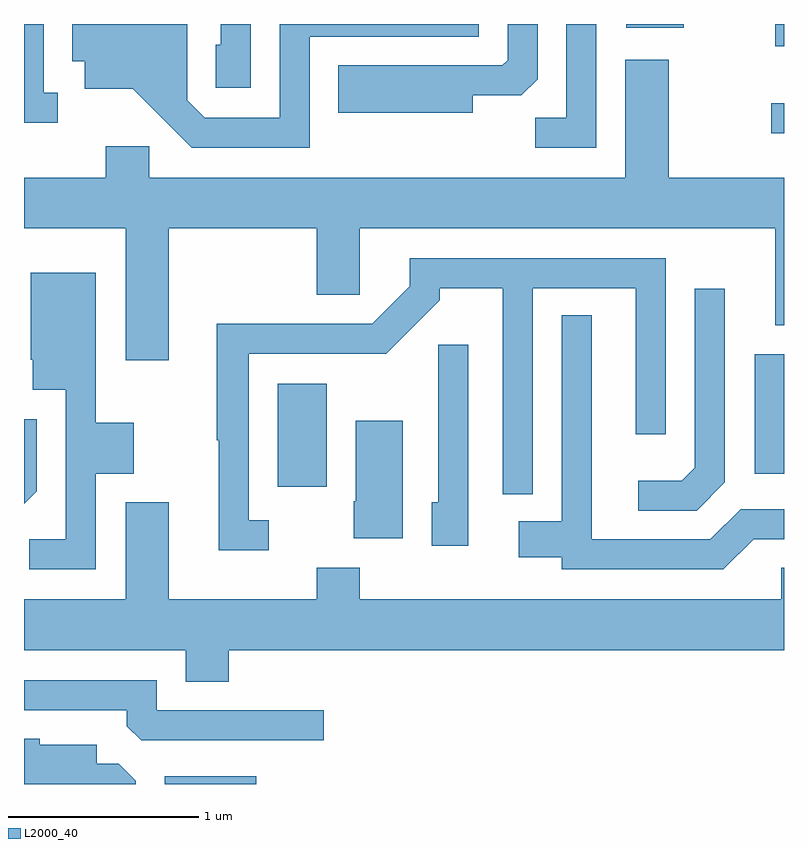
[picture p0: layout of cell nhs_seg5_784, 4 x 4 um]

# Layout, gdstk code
import gdstk
lib = gdstk.Library(unit=1e-6, precision=1e-09)
def R(c, l, rs):  # rectangles x0, y0, x1, y1
    for r in rs: c.add(gdstk.rectangle(r[:2], r[2:], *l))
def P(c, l, *ps):  # polygons
    for p in ps: c.add(gdstk.Polygon(p, *l))
L2000_40 = (2000, 40)

nhs_seg5_784 = lib.new_cell('nhs_seg5_784')
R(nhs_seg5_784, L2000_40, [(208.351,1476.072,208.834,1476.114), (208.946,1477.636,209.204,1478.179), (211.456,1477.706,211.611,1478.334), (211.543,1479.496,211.611,1479.654), (211.566,1479.956,211.611,1480.072), (210.781,1480.051,211.084,1480.072)])
P(nhs_seg5_784, L2000_40, [(208.804,1480.072),(208.646,1480.072),(208.646,1479.964),(208.621,1479.964),(208.621,1479.736),(208.804,1479.736)],
  [(209.114,1480.006),(210.004,1480.006),(210.004,1480.072),(208.956,1480.072),(208.956,1479.579),(208.562,1479.579),(208.469,1479.672),(208.469,1480.072),(207.866,1480.072),(207.866,1479.876),(207.931,1479.876),(207.931,1479.731),(208.184,1479.731),(208.494,1479.421),(209.114,1479.421)],
  [(210.624,1480.072),(210.466,1480.072),(210.466,1479.579),(210.303,1479.579),(210.303,1479.421),(210.624,1479.421)],
  [(209.974,1479.696),(210.229,1479.696),(210.314,1479.782),(210.314,1480.072),(210.156,1480.072),(210.156,1479.882),(210.129,1479.854),(209.266,1479.854),(209.266,1479.606),(209.974,1479.606)],
  [(207.788,1479.709),(207.714,1479.709),(207.714,1480.072),(207.611,1480.072),(207.611,1479.551),(207.788,1479.551)],
  [(208.374,1478.996),(209.151,1478.996),(209.151,1478.646),(209.379,1478.646),(209.379,1478.996),(211.566,1478.996),(211.566,1478.486),(211.611,1478.486),(211.611,1479.264),(211.004,1479.264),(211.004,1479.884),(210.776,1479.884),(210.776,1479.264),(208.269,1479.264),(208.269,1479.429),(208.041,1479.429),(208.041,1479.264),(207.611,1479.264),(207.611,1478.996),(208.146,1478.996),(208.146,1478.301),(208.374,1478.301)],
  [(208.898,1477.459),(208.794,1477.459),(208.794,1478.336),(209.517,1478.336),(209.799,1478.619),(209.799,1478.681),(210.131,1478.681),(210.131,1477.598),(210.289,1477.598),(210.289,1478.681),(210.831,1478.681),(210.831,1477.913),(210.989,1477.913),(210.989,1478.839),(209.641,1478.839),(209.641,1478.692),(209.444,1478.494),(208.626,1478.494),(208.626,1477.88),(208.636,1477.88),(208.636,1477.301),(208.898,1477.301)],
  [(207.989,1477.706),(208.189,1477.706),(208.189,1477.974),(207.989,1477.974),(207.989,1478.764),(207.646,1478.764),(207.646,1478.305),(207.656,1478.305),(207.656,1478.146),(207.831,1478.146),(207.831,1477.359),(207.638,1477.359),(207.638,1477.201),(207.989,1477.201)],
  [(211.299,1477.659),(211.299,1478.678),(211.141,1478.678),(211.141,1477.737),(211.074,1477.669),(210.843,1477.669),(210.843,1477.511),(211.152,1477.511)],
  [(211.452,1477.361),(211.611,1477.361),(211.611,1477.519),(211.384,1477.519),(211.224,1477.359),(210.599,1477.359),(210.599,1478.538),(210.441,1478.538),(210.441,1477.454),(210.216,1477.454),(210.216,1477.266),(210.441,1477.266),(210.441,1477.201),(211.292,1477.201)],
  [(209.949,1478.383),(209.791,1478.383),(209.791,1477.554),(209.756,1477.554),(209.756,1477.326),(209.949,1477.326)],
  [(207.679,1477.614),(207.679,1477.993),(207.611,1477.993),(207.611,1477.546)],
  [(209.604,1477.984),(209.356,1477.984),(209.356,1477.56),(209.346,1477.56),(209.346,1477.366),(209.604,1477.366)],
  [(208.689,1476.776),(211.611,1476.776),(211.611,1477.209),(211.596,1477.209),(211.596,1477.044),(209.379,1477.044),(209.379,1477.209),(209.151,1477.209),(209.151,1477.044),(208.374,1477.044),(208.374,1477.554),(208.146,1477.554),(208.146,1477.044),(207.611,1477.044),(207.611,1476.776),(208.461,1476.776),(208.461,1476.611),(208.689,1476.611)],
  [(209.188,1476.459),(208.309,1476.459),(208.309,1476.619),(207.611,1476.619),(207.611,1476.461),(208.151,1476.461),(208.151,1476.377),(208.227,1476.301),(209.188,1476.301)],
  [(208.199,1476.089),(208.109,1476.179),(207.994,1476.179),(207.994,1476.279),(207.694,1476.279),(207.694,1476.309),(207.611,1476.309),(207.611,1476.072),(208.199,1476.072)])

lib.write_gds('nhs_seg5_784.gds')
